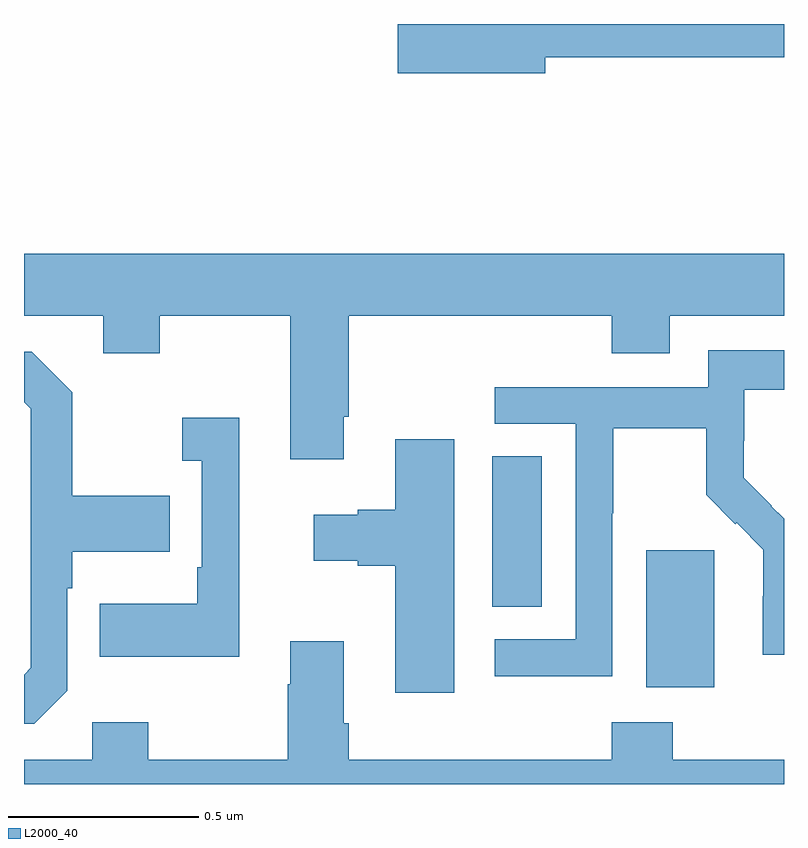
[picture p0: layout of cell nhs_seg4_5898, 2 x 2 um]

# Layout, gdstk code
import gdstk
lib = gdstk.Library(unit=1e-6, precision=1e-09)
def R(c, l, rs):  # rectangles x0, y0, x1, y1
    for r in rs: c.add(gdstk.rectangle(r[:2], r[2:], *l))
def P(c, l, *ps):  # polygons
    for p in ps: c.add(gdstk.Polygon(p, *l))
L2000_40 = (2000, 40)

nhs_seg4_5898 = lib.new_cell('nhs_seg4_5898')
R(nhs_seg4_5898, L2000_40, [(184.637,817.154,184.816,817.515), (184.232,817.366,184.363,817.763)])
P(nhs_seg4_5898, L2000_40, [(184.372,818.812),(185,818.812),(185,818.9),(183.984,818.9),(183.984,818.77),(184.372,818.77)],
  [(183.841,817.867),(183.854,817.867),(183.854,818.132),(184.547,818.132),(184.547,818.033),(184.699,818.033),(184.699,818.132),(185,818.132),(185,818.296),(183,818.296),(183,818.132),(183.209,818.132),(183.209,818.033),(183.357,818.033),(183.357,818.132),(183.701,818.132),(183.701,817.755),(183.841,817.755)],
  [(184.548,817.612),(184.551,817.612),(184.551,817.836),(184.795,817.836),(184.795,817.661),(184.872,817.584),(184.875,817.587),(184.946,817.517),(184.946,817.394),(184.944,817.394),(184.944,817.24),(185,817.24),(185,817.598),(184.967,817.631),(184.968,817.632),(184.894,817.706),(184.894,817.803),(184.896,817.803),(184.896,817.937),(185,817.937),(185,818.041),(184.8,818.041),(184.8,817.944),(184.239,817.944),(184.239,817.848),(184.452,817.848),(184.452,817.281),(184.239,817.281),(184.239,817.183),(184.548,817.183)],
  [(183.114,817.146),(183.114,817.415),(183.127,817.415),(183.127,817.511),(183.383,817.511),(183.383,817.659),(183.127,817.659),(183.127,817.931),(183.021,818.037),(183,818.037),(183,817.905),(183.018,817.887),(183.018,817.206),(183,817.188),(183,817.059),(183.027,817.059)],
  [(183.566,817.864),(183.417,817.864),(183.417,817.751),(183.468,817.751),(183.468,817.471),(183.456,817.471),(183.456,817.375),(183.199,817.375),(183.199,817.235),(183.566,817.235)],
  [(184.132,817.807),(183.977,817.807),(183.977,817.622),(183.878,817.622),(183.878,817.609),(183.762,817.609),(183.762,817.487),(183.878,817.487),(183.878,817.475),(183.977,817.475),(183.977,817.14),(184.132,817.14)],
  [(185,816.964),(184.707,816.964),(184.707,817.063),(184.547,817.063),(184.547,816.964),(183.854,816.964),(183.854,817.06),(183.841,817.06),(183.841,817.276),(183.701,817.276),(183.701,817.163),(183.694,817.163),(183.694,816.964),(183.327,816.964),(183.327,817.063),(183.18,817.063),(183.18,816.964),(183,816.964),(183,816.9),(185,816.9)])

lib.write_gds('nhs_seg4_5898.gds')
